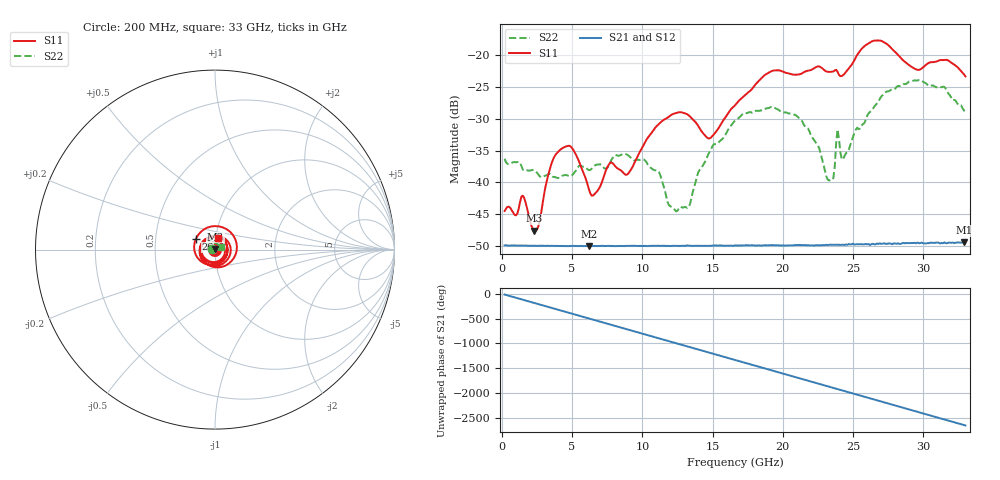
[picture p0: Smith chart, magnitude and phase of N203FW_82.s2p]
# GHZ S RI R 50
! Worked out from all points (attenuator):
!   329 points, 200 MHz to 33 GHz, reference 50 ohm
!   highest |S21| = -49.45 dB at 32.9 GHz (marker M1); lowest = -50.1 dB at 6.2 GHz (marker M2)
!   lowest |S11| = -47.6 dB at 2.3 GHz (marker M3), VSWR 1.01, Z = 50.1 + j0.402 ohm
!   |S11| at or under -10 dB: start of sweep to end of sweep
!   |S22| runs from -44.6 to -23.9 dB; largest |S21 - S12| = 8.8e-05
!   S11 on the Smith chart (normalised r, x): 200 MHz: 1.01, +0.00; 26 GHz: 0.80, +0.10; 33 GHz: 1.03, +0.14
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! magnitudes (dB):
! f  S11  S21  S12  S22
! 200 MHz  -44.5  -50.0  -49.9  -36.3
! 1.5 GHz  -42.1  -50.0  -50.0  -38.0
! 2.3 GHz  -47.6  -50.0  -50.0  -38.1
! 3.8 GHz  -35.8  -50.1  -50.0  -39.2
! 5.7 GHz  -37.9  -50.1  -50.0  -37.5
! 6.2 GHz  -41.1  -50.1  -50.1  -38.1
! 9 GHz  -38.7  -50.0  -50.0  -35.8
! 11.2 GHz  -30.8  -50.0  -50.0  -38.4
! 11.9 GHz  -29.7  -50.1  -50.0  -43.6
! 13.3 GHz  -29.4  -50.0  -50.0  -44.0
! 14.8 GHz  -33.1  -50.0  -50.0  -35.2
! 16.6 GHz  -27.9  -50.0  -50.0  -30.3
! 19.3 GHz  -22.4  -49.9  -49.9  -28.1
! 22.1 GHz  -22.2  -50.0  -49.9  -32.9
! 23.5 GHz  -22.6  -49.9  -49.8  -39.7
! 23.9 GHz  -22.6  -49.9  -49.9  -31.7
! 24.3 GHz  -23.1  -49.8  -49.8  -36.4
! 26 GHz  -18.3  -49.8  -49.7  -29.6
! 27.6 GHz  -18.6  -49.7  -49.7  -25.6
! 29.8 GHz  -22.2  -49.6  -49.7  -23.9
! 32.9 GHz  -23.0  -49.4  -49.4  -28.7
! 33 GHz  -23.3  -49.5  -49.5  -28.9
